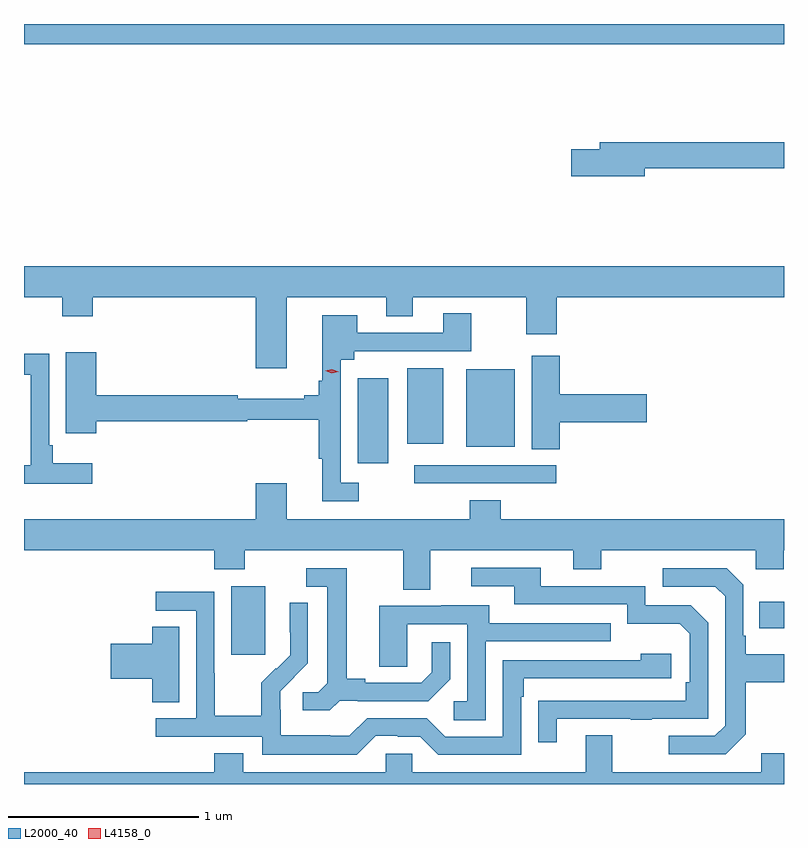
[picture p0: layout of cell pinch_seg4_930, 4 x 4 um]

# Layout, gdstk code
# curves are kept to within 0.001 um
import gdstk
lib = gdstk.Library(unit=1e-6, precision=1e-09)
def R(c, l, rs):  # rectangles x0, y0, x1, y1
    for r in rs: c.add(gdstk.rectangle(r[:2], r[2:], *l))
def P(c, l, *ps):  # polygons
    for p in ps: c.add(gdstk.Polygon(p, *l))
L2000_40 = (2000, 40)
L4158_0 = (4158, 0)

pinch_seg4_930 = lib.new_cell('pinch_seg4_930')
R(pinch_seg4_930, L2000_40, [(680.363,784.281,680.542,784.642), (683.143,784.421,683.272,784.561), (681.327,785.184,682.072,785.28), (681.029,785.289,681.19,785.737), (681.599,785.378,681.856,785.785), (681.29,785.393,681.478,785.791), (679.272,787.496,683.272,787.602)])
P(pinch_seg4_930, L2000_40, [(682.54,786.844),(683.272,786.844),(683.272,786.98),(682.301,786.98),(682.301,786.944),(682.152,786.944),(682.152,786.802),(682.54,786.802)],
  [(680.656,786.164),(681.179,786.164),(681.179,786.065),(681.319,786.065),(681.319,786.164),(681.916,786.164),(681.916,785.97),(682.076,785.97),(682.076,786.164),(683.272,786.164),(683.272,786.328),(679.272,786.328),(679.272,786.164),(679.474,786.164),(679.474,786.065),(679.634,786.065),(679.634,786.164),(680.492,786.164),(680.492,785.79),(680.656,785.79)],
  [(681.034,785.187),(680.94,785.187),(680.94,785.834),(681.01,785.834),(681.01,785.88),(681.627,785.88),(681.627,786.079),(681.479,786.079),(681.479,785.976),(681.025,785.976),(681.025,786.07),(680.843,786.07),(680.843,785.725),(680.824,785.725),(680.824,785.648),(680.747,785.648),(680.747,785.629),(680.396,785.629),(680.396,785.648),(679.652,785.648),(679.652,785.875),(679.493,785.875),(679.493,785.448),(679.652,785.448),(679.652,785.512),(680.447,785.512),(680.447,785.52),(680.824,785.52),(680.824,785.315),(680.843,785.315),(680.843,785.091),(681.034,785.091)],
  [(679.63,785.29),(679.424,785.29),(679.424,785.386),(679.404,785.386),(679.404,785.866),(679.272,785.866),(679.272,785.757),(679.308,785.757),(679.308,785.28),(679.272,785.28),(679.272,785.183),(679.63,785.183)],
  [(682.091,785.507),(682.549,785.507),(682.549,785.654),(682.091,785.654),(682.091,785.857),(681.944,785.857),(681.944,785.365),(682.091,785.365)],
  [(681.409,784.832),(682.163,784.832),(682.163,784.733),(682.311,784.733),(682.311,784.832),(683.124,784.832),(683.124,784.733),(683.271,784.733),(683.271,784.832),(683.272,784.832),(683.272,784.996),(681.782,784.996),(681.782,785.095),(681.617,785.095),(681.617,784.996),(680.656,784.996),(680.656,785.185),(680.492,785.185),(680.492,784.996),(679.272,784.996),(679.272,784.832),(680.273,784.832),(680.273,784.733),(680.433,784.733),(680.433,784.832),(681.269,784.832),(681.269,784.624),(681.409,784.624)],
  [(682.075,783.945),(682.465,783.945),(682.465,783.94),(682.577,783.94),(682.577,783.945),(682.872,783.945),(682.872,784.452),(682.782,784.542),(682.542,784.542),(682.542,784.644),(681.991,784.644),(681.991,784.74),(681.627,784.74),(681.627,784.644),(681.851,784.644),(681.851,784.548),(682.446,784.548),(682.446,784.445),(682.723,784.445),(682.776,784.392),(682.776,784.138),(682.756,784.138),(682.756,784.041),(681.979,784.04),(681.979,783.822),(682.075,783.822)],
  [(683.071,783.865),(683.071,784.138),(683.272,784.138),(683.272,784.285),(683.071,784.285),(683.071,784.381),(683.058,784.381),(683.058,784.65),(682.971,784.737),(682.635,784.737),(682.635,784.641),(682.911,784.641),(682.962,784.59),(682.962,783.909),(682.908,783.855),(682.665,783.855),(682.665,783.759),(682.965,783.759)],
  [(680.934,784.041),(681.028,784.041),(681.028,784.038),(681.4,784.038),(681.516,784.154),(681.516,784.348),(681.419,784.348),(681.419,784.191),(681.362,784.134),(681.067,784.134),(681.067,784.157),(680.971,784.157),(680.971,784.737),(680.757,784.737),(680.757,784.641),(680.867,784.641),(680.867,784.133),(680.82,784.086),(680.739,784.086),(680.739,783.989),(680.882,783.989)],
  [(681.123,783.855),(681.239,783.855),(681.239,783.852),(681.357,783.852),(681.453,783.756),(681.888,783.756),(681.888,784.061),(681.901,784.061),(681.901,784.158),(682.678,784.158),(682.678,784.288),(682.517,784.288),(682.517,784.254),(681.792,784.254),(681.792,783.852),(681.489,783.852),(681.393,783.948),(681.078,783.948),(680.985,783.855),(680.885,783.855),(680.885,783.859),(680.622,783.859),(680.622,783.993),(680.62,783.993),(680.62,784.09),(680.766,784.238),(680.766,784.556),(680.67,784.556),(680.67,784.402),(680.672,784.402),(680.672,784.28),(680.601,784.209),(680.598,784.212),(680.521,784.135),(680.521,783.961),(680.277,783.961),(680.277,784.184),(680.274,784.184),(680.274,784.614),(679.965,784.614),(679.965,784.515),(680.178,784.515),(680.178,783.948),(679.965,783.948),(679.965,783.852),(680.526,783.852),(680.526,783.755),(681.023,783.755)],
  [(681.702,784.353),(682.361,784.353),(682.361,784.449),(681.721,784.449),(681.721,784.543),(681.467,784.543),(681.467,784.539),(681.143,784.539),(681.143,784.219),(681.288,784.219),(681.288,784.443),(681.606,784.443),(681.606,784.038),(681.534,784.038),(681.534,783.937),(681.702,783.937)],
  [(680.089,784.43),(679.946,784.43),(679.946,784.34),(679.728,784.34),(679.728,784.157),(679.946,784.157),(679.946,784.033),(680.089,784.033)],
  [(683.272,783.763),(683.153,783.763),(683.153,783.664),(682.369,783.664),(682.369,783.859),(682.229,783.859),(682.229,783.664),(681.315,783.664),(681.315,783.762),(681.177,783.762),(681.177,783.664),(680.425,783.664),(680.425,783.763),(680.273,783.763),(680.273,783.664),(679.272,783.664),(679.272,783.602),(683.272,783.602)])
P(pinch_seg4_930, L4158_0, [(680.891,785.764),(680.857,785.777),(680.856,785.778),(680.857,785.778),(680.893,785.784),(680.928,785.771),(680.928,785.771),(680.928,785.771)])

lib.write_gds('pinch_seg4_930.gds')
